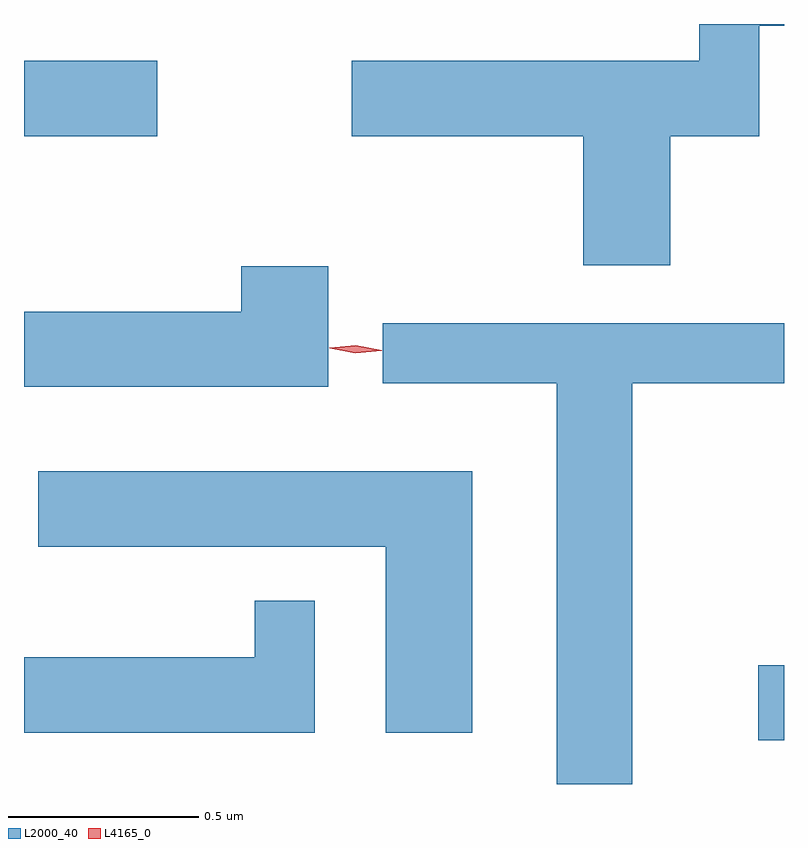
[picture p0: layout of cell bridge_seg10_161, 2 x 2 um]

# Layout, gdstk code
import gdstk
lib = gdstk.Library(unit=1e-6, precision=1e-09)
def R(c, l, rs):  # rectangles x0, y0, x1, y1
    for r in rs: c.add(gdstk.rectangle(r[:2], r[2:], *l))
def P(c, l, *ps):  # polygons
    for p in ps: c.add(gdstk.Polygon(p, *l))
L2000_40 = (2000, 40)
L4165_0 = (4165, 0)

bridge_seg10_161 = lib.new_cell('bridge_seg10_161')
R(bridge_seg10_161, L2000_40, [(1698.546,2126.891,1698.614,2127.089), (1696.614,2128.481,1696.964,2128.679)])
P(bridge_seg10_161, L2000_40, [(1698.314,2128.481),(1698.549,2128.481),(1698.549,2128.771),(1698.614,2128.771),(1698.614,2128.776),(1698.391,2128.776),(1698.391,2128.679),(1697.476,2128.679),(1697.476,2128.481),(1698.086,2128.481),(1698.086,2128.141),(1698.314,2128.141)],
  [(1697.414,2128.139),(1697.186,2128.139),(1697.186,2128.019),(1696.614,2128.019),(1696.614,2127.821),(1697.414,2127.821)],
  [(1698.214,2127.831),(1698.614,2127.831),(1698.614,2127.989),(1697.558,2127.989),(1697.558,2127.831),(1698.016,2127.831),(1698.016,2126.776),(1698.214,2126.776)],
  [(1697.794,2127.599),(1696.651,2127.599),(1696.651,2127.401),(1697.566,2127.401),(1697.566,2126.911),(1697.794,2126.911)],
  [(1697.379,2127.258),(1697.221,2127.258),(1697.221,2127.109),(1696.614,2127.109),(1696.614,2126.911),(1697.379,2126.911)])
P(bridge_seg10_161, L4165_0, [(1697.486,2127.91),(1697.418,2127.923),(1697.417,2127.924),(1697.418,2127.924),(1697.487,2127.93),(1697.555,2127.917),(1697.555,2127.917),(1697.555,2127.916)])

lib.write_gds('bridge_seg10_161.gds')
